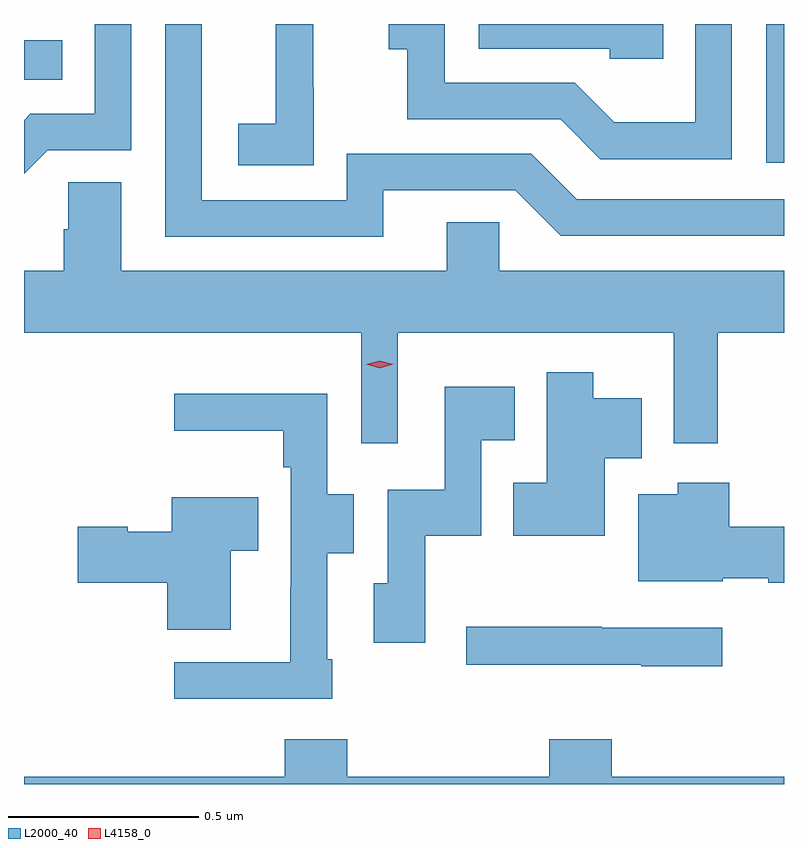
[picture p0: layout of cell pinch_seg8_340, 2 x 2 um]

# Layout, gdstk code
import gdstk
lib = gdstk.Library(unit=1e-6, precision=1e-09)
def R(c, l, rs):  # rectangles x0, y0, x1, y1
    for r in rs: c.add(gdstk.rectangle(r[:2], r[2:], *l))
def P(c, l, *ps):  # polygons
    for p in ps: c.add(gdstk.Polygon(p, *l))
L2000_40 = (2000, 40)
L4158_0 = (4158, 0)

pinch_seg8_340 = lib.new_cell('pinch_seg8_340')
R(pinch_seg8_340, L2000_40, [(379.824,1150.248,379.871,1150.613), (377.871,1150.466,377.972,1150.57)])
P(pinch_seg8_340, L2000_40, [(379.734,1150.613),(379.638,1150.613),(379.638,1150.354),(379.424,1150.354),(379.32,1150.458),(378.978,1150.458),(378.978,1150.613),(378.831,1150.613),(378.831,1150.547),(378.88,1150.547),(378.88,1150.362),(379.283,1150.362),(379.388,1150.257),(379.734,1150.257)],
  [(377.934,1150.281),(378.153,1150.281),(378.153,1150.613),(378.057,1150.613),(378.057,1150.377),(377.888,1150.377),(377.871,1150.36),(377.871,1150.219)],
  [(379.553,1150.613),(379.068,1150.613),(379.068,1150.548),(379.413,1150.548),(379.413,1150.521),(379.553,1150.521)],
  [(378.633,1150.447),(378.632,1150.447),(378.632,1150.613),(378.534,1150.613),(378.534,1150.58),(378.533,1150.58),(378.533,1150.351),(378.435,1150.351),(378.435,1150.241),(378.633,1150.241)],
  [(378.817,1150.176),(379.164,1150.176),(379.284,1150.056),(379.871,1150.056),(379.871,1150.152),(379.326,1150.152),(379.206,1150.272),(378.72,1150.272),(378.72,1150.149),(378.339,1150.149),(378.339,1150.613),(378.243,1150.613),(378.243,1150.053),(378.817,1150.053)],
  [(378.983,1150.091),(378.983,1149.964),(378.127,1149.964),(378.127,1150.196),(377.988,1150.196),(377.988,1150.073),(377.975,1150.073),(377.975,1149.964),(377.871,1149.964),(377.871,1149.8),(378.759,1149.8),(378.759,1149.51),(378.855,1149.51),(378.855,1149.8),(379.581,1149.8),(379.581,1149.51),(379.697,1149.51),(379.697,1149.8),(379.871,1149.8),(379.871,1149.964),(379.122,1149.964),(379.122,1150.091)],
  [(379.399,1149.47),(379.496,1149.47),(379.496,1149.628),(379.369,1149.628),(379.369,1149.697),(379.247,1149.697),(379.247,1149.406),(379.159,1149.406),(379.159,1149.266),(379.399,1149.266)],
  [(378.927,1149.266),(379.074,1149.266),(379.074,1149.518),(379.162,1149.518),(379.162,1149.658),(378.978,1149.658),(378.978,1149.388),(378.828,1149.388),(378.828,1149.141),(378.791,1149.141),(378.791,1148.985),(378.927,1148.985)],
  [(378.682,1148.941),(378.669,1148.941),(378.669,1149.22),(378.739,1149.22),(378.739,1149.375),(378.669,1149.375),(378.669,1149.64),(378.267,1149.64),(378.267,1149.542),(378.553,1149.542),(378.553,1149.446),(378.573,1149.446),(378.573,1149.131),(378.572,1149.131),(378.572,1148.934),(378.267,1148.934),(378.267,1148.838),(378.682,1148.838)],
  [(379.871,1149.29),(379.727,1149.29),(379.727,1149.406),(379.592,1149.406),(379.592,1149.376),(379.487,1149.376),(379.487,1149.146),(379.71,1149.146),(379.71,1149.155),(379.83,1149.155),(379.83,1149.143),(379.871,1149.143)],
  [(378.415,1149.227),(378.488,1149.227),(378.488,1149.367),(378.26,1149.367),(378.26,1149.277),(378.144,1149.277),(378.144,1149.29),(378.012,1149.29),(378.012,1149.143),(378.248,1149.143),(378.248,1149.019),(378.415,1149.019)],
  [(379.708,1149.024),(379.391,1149.024),(379.391,1149.027),(379.035,1149.027),(379.035,1148.927),(379.495,1148.927),(379.495,1148.923),(379.708,1148.923)],
  [(379.871,1148.632),(379.418,1148.632),(379.418,1148.731),(379.253,1148.731),(379.253,1148.632),(378.722,1148.632),(378.722,1148.731),(378.557,1148.731),(378.557,1148.632),(377.871,1148.632),(377.871,1148.613),(379.871,1148.613)])
P(pinch_seg8_340, L4158_0, [(378.807,1149.707),(378.772,1149.717),(378.771,1149.717),(378.772,1149.717),(378.807,1149.727),(378.843,1149.718),(378.843,1149.718),(378.843,1149.718)])

lib.write_gds('pinch_seg8_340.gds')
